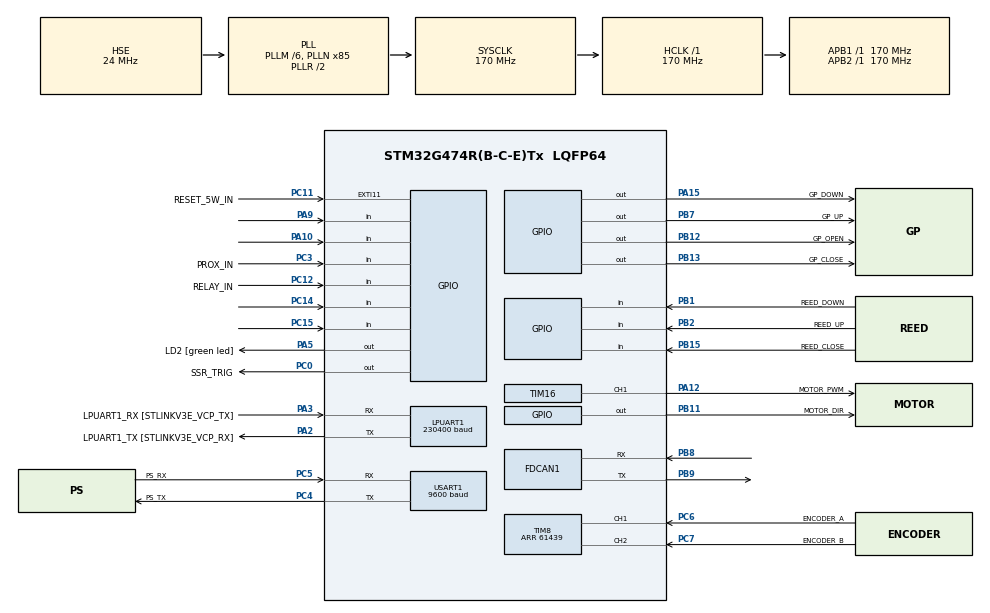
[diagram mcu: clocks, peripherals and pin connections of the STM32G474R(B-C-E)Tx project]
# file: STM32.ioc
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Dma.LPUART1_RX.0.Direction=DMA_PERIPH_TO_MEMORY
Dma.LPUART1_RX.0.EventEnable=DISABLE
Dma.LPUART1_RX.0.Instance=DMA1_Channel1
Dma.LPUART1_RX.0.MemDataAlignment=DMA_MDATAALIGN_BYTE
Dma.LPUART1_RX.0.MemInc=DMA_MINC_ENABLE
Dma.LPUART1_RX.0.Mode=DMA_CIRCULAR
Dma.LPUART1_RX.0.PeriphDataAlignment=DMA_PDATAALIGN_BYTE
Dma.LPUART1_RX.0.PeriphInc=DMA_PINC_DISABLE
Dma.LPUART1_RX.0.Polarity=HAL_DMAMUX_REQ_GEN_RISING
Dma.LPUART1_RX.0.Priority=DMA_PRIORITY_LOW
Dma.LPUART1_RX.0.RequestNumber=1
Dma.LPUART1_RX.0.SignalID=NONE
Dma.LPUART1_RX.0.SyncEnable=DISABLE
Dma.LPUART1_RX.0.SyncPolarity=HAL_DMAMUX_SYNC_NO_EVENT
Dma.LPUART1_RX.0.SyncRequestNumber=1
Dma.LPUART1_RX.0.SyncSignalID=NONE
Dma.LPUART1_TX.1.Direction=DMA_MEMORY_TO_PERIPH
Dma.LPUART1_TX.1.EventEnable=DISABLE
Dma.LPUART1_TX.1.Instance=DMA1_Channel2
Dma.LPUART1_TX.1.MemDataAlignment=DMA_MDATAALIGN_BYTE
Dma.LPUART1_TX.1.MemInc=DMA_MINC_ENABLE
Dma.LPUART1_TX.1.Mode=DMA_NORMAL
Dma.LPUART1_TX.1.PeriphDataAlignment=DMA_PDATAALIGN_BYTE
Dma.LPUART1_TX.1.PeriphInc=DMA_PINC_DISABLE
Dma.LPUART1_TX.1.Polarity=HAL_DMAMUX_REQ_GEN_RISING
Dma.LPUART1_TX.1.Priority=DMA_PRIORITY_LOW
Dma.LPUART1_TX.1.RequestNumber=1
Dma.LPUART1_TX.1.SignalID=NONE
Dma.LPUART1_TX.1.SyncEnable=DISABLE
Dma.LPUART1_TX.1.SyncPolarity=HAL_DMAMUX_SYNC_NO_EVENT
Dma.LPUART1_TX.1.SyncRequestNumber=1
Dma.LPUART1_TX.1.SyncSignalID=NONE
Dma.Request0=LPUART1_RX
Dma.Request1=LPUART1_TX
Dma.Request2=USART1_RX
Dma.Request3=USART1_TX
Dma.USART1_RX.2.Direction=DMA_PERIPH_TO_MEMORY
Dma.USART1_RX.2.EventEnable=DISABLE
Dma.USART1_RX.2.Instance=DMA1_Channel3
Dma.USART1_RX.2.MemDataAlignment=DMA_MDATAALIGN_BYTE
Dma.USART1_RX.2.MemInc=DMA_MINC_ENABLE
Dma.USART1_RX.2.Mode=DMA_CIRCULAR
Dma.USART1_RX.2.PeriphDataAlignment=DMA_PDATAALIGN_BYTE
Dma.USART1_RX.2.PeriphInc=DMA_PINC_DISABLE
Dma.USART1_RX.2.Polarity=HAL_DMAMUX_REQ_GEN_RISING
Dma.USART1_RX.2.Priority=DMA_PRIORITY_LOW
Dma.USART1_RX.2.RequestNumber=1
Dma.USART1_RX.2.SignalID=NONE
Dma.USART1_RX.2.SyncEnable=DISABLE
Dma.USART1_RX.2.SyncPolarity=HAL_DMAMUX_SYNC_NO_EVENT
Dma.USART1_RX.2.SyncRequestNumber=1
Dma.USART1_RX.2.SyncSignalID=NONE
Dma.USART1_TX.3.Direction=DMA_MEMORY_TO_PERIPH
Dma.USART1_TX.3.EventEnable=DISABLE
Dma.USART1_TX.3.Instance=DMA1_Channel4
Dma.USART1_TX.3.MemDataAlignment=DMA_MDATAALIGN_BYTE
Dma.USART1_TX.3.MemInc=DMA_MINC_ENABLE
Dma.USART1_TX.3.Mode=DMA_NORMAL
Dma.USART1_TX.3.PeriphDataAlignment=DMA_PDATAALIGN_BYTE
Dma.USART1_TX.3.PeriphInc=DMA_PINC_DISABLE
Dma.USART1_TX.3.Polarity=HAL_DMAMUX_REQ_GEN_RISING
Dma.USART1_TX.3.Priority=DMA_PRIORITY_LOW
Dma.USART1_TX.3.RequestNumber=1
Dma.USART1_TX.3.SignalID=NONE
Dma.USART1_TX.3.SyncEnable=DISABLE
Dma.USART1_TX.3.SyncPolarity=HAL_DMAMUX_SYNC_NO_EVENT
Dma.USART1_TX.3.SyncRequestNumber=1
Dma.USART1_TX.3.SyncSignalID=NONE
FDCAN1.CalculateBaudRateNominal=1250000
FDCAN1.CalculateTimeBitNominal=800
FDCAN1.CalculateTimeQuantumNominal=200.0
FDCAN1.NominalPrescaler=34
FDCAN1.NominalTimeSeg2=2
LPUART1.BaudRate=230400
LPUART1.Parity=UART_PARITY_EVEN
LPUART1.WordLength=UART_WORDLENGTH_9B
Mcu.Family=STM32G4
Mcu.Name=STM32G474R(B-C-E)Tx
Mcu.Package=LQFP64
NVIC.DMA1_Channel1_IRQn=true\:0\:0\:false\:false\:true\:false\:true\:true
NVIC.DMA1_Channel2_IRQn=true\:0\:0\:false\:false\:true\:false\:true\:true
NVIC.DMA1_Channel3_IRQn=true\:0\:0\:false\:false\:true\:false\:true\:true
NVIC.DMA1_Channel4_IRQn=true\:0\:0\:false\:false\:true\:false\:true\:true
NVIC.EXTI15_10_IRQn=true\:0\:0\:false\:false\:true\:true\:true\:true
NVIC.FDCAN1_IT0_IRQn=true\:0\:0\:false\:false\:true\:true\:true\:true
NVIC.FDCAN1_IT1_IRQn=true\:0\:0\:false\:false\:true\:true\:true\:true
NVIC.LPUART1_IRQn=true\:0\:0\:false\:false\:true\:true\:true\:true
NVIC.PriorityGroup=NVIC_PRIORITYGROUP_4
NVIC.TIM6_DAC_IRQn=true\:0\:0\:false\:false\:true\:true\:true\:true
NVIC.TIM7_DAC_IRQn=true\:0\:0\:false\:false\:true\:true\:true\:true
NVIC.USART1_IRQn=true\:0\:0\:false\:false\:true\:true\:true\:true
PA10.GPIO_PuPd=GPIO_PULLDOWN
PA10.Signal=GPIO_Input
PA12.GPIO_Label=MOTOR_PWM
PA12.Signal=S_TIM16_CH1
PA13.Signal=SYS_JTMS-SWDIO
PA14.Signal=SYS_JTCK-SWCLK
PA15.GPIO_Label=GP_DOWN
PA15.GPIO_PuPd=GPIO_PULLDOWN
PA15.Signal=GPIO_Output
PA2.GPIO_Label=LPUART1_TX [STLINKV3E_VCP_RX]
PA2.Mode=Asynchronous
PA2.Signal=LPUART1_TX
PA3.GPIO_Label=LPUART1_RX [STLINKV3E_VCP_TX]
PA3.Mode=Asynchronous
PA3.Signal=LPUART1_RX
PA5.GPIO_Label=LD2 [green led]
PA5.Signal=GPIO_Output
PA9.GPIO_PuPd=GPIO_PULLDOWN
PA9.Signal=GPIO_Input
PB1.GPIO_Label=REED_DOWN
PB1.GPIO_Mode=GPIO_MODE_INPUT
PB1.GPIO_PuPd=GPIO_PULLDOWN
PB1.Signal=GPIO_Input
PB11.GPIO_Label=MOTOR_DIR
PB11.Signal=GPIO_Output
PB12.GPIO_Label=GP_OPEN
PB12.GPIO_PuPd=GPIO_PULLDOWN
PB12.Signal=GPIO_Output
PB13.GPIO_Label=GP_CLOSE
PB13.GPIO_PuPd=GPIO_PULLDOWN
PB13.Signal=GPIO_Output
PB15.GPIO_Label=REED_CLOSE
PB15.GPIO_Mode=GPIO_MODE_INPUT
PB15.GPIO_PuPd=GPIO_PULLDOWN
PB15.Signal=GPIO_Input
PB2.GPIO_Label=REED_UP
PB2.GPIO_PuPd=GPIO_PULLDOWN
PB2.Signal=GPIO_Input
PB3.GPIO_Label=T_SWO
PB3.Signal=SYS_JTDO-SWO
PB6.GPIO_Label=ENCODER_Z
PB6.Signal=S_TIM8_ETR
PB7.GPIO_Label=GP_UP
PB7.GPIO_PuPd=GPIO_PULLDOWN
PB7.Signal=GPIO_Output
PB8-BOOT0.Mode=FDCAN_Activate
PB8-BOOT0.Signal=FDCAN1_RX
PB9.Mode=FDCAN_Activate
PB9.Signal=FDCAN1_TX
PC0.GPIO_Label=SSR_TRIG
PC0.GPIO_PuPd=GPIO_PULLDOWN
PC0.Signal=GPIO_Output
PC11.GPIO_Label=RESET_5W_IN
PC11.GPIO_ModeDefaultEXTI=GPIO_MODE_IT_FALLING
PC11.GPIO_PuPd=GPIO_PULLDOWN
PC11.Signal=GPXTI11
PC12.GPIO_Label=RELAY_IN
PC12.GPIO_PuPd=GPIO_PULLDOWN
PC12.Signal=GPIO_Input
PC14-OSC32_IN.GPIO_PuPd=GPIO_PULLDOWN
PC14-OSC32_IN.Signal=GPIO_Input
PC15-OSC32_OUT.GPIO_PuPd=GPIO_PULLDOWN
PC15-OSC32_OUT.Signal=GPIO_Input
PC3.GPIO_Label=PROX_IN
PC3.GPIO_PuPd=GPIO_PULLDOWN
PC3.Signal=GPIO_Input
PC4.GPIO_Label=PS_TX
PC4.Mode=Asynchronous
PC4.Signal=USART1_TX
PC5.GPIO_Label=PS_RX
PC5.Mode=Asynchronous
PC5.Signal=USART1_RX
PC6.GPIO_Label=ENCODER_A
PC6.Signal=S_TIM8_CH1
PC7.GPIO_Label=ENCODER_B
PC7.Signal=S_TIM8_CH2
PF0-OSC_IN.GPIO_Label=RCC_OSC_IN
PF0-OSC_IN.Mode=HSE-External-Oscillator
PF0-OSC_IN.Signal=RCC_OSC_IN
PF1-OSC_OUT.GPIO_Label=RCC_OSC_OUT
PF1-OSC_OUT.Mode=HSE-External-Oscillator
PF1-OSC_OUT.Signal=RCC_OSC_OUT
ProjectManager.HeapSize=0x200
ProjectManager.StackSize=0x400
ProjectManager.TargetToolchain=STM32CubeIDE
RCC.ADC12Freq_Value=170000000
RCC.ADC345Freq_Value=170000000
RCC.AHBFreq_Value=170000000
RCC.APB1Freq_Value=170000000
RCC.APB1TimFreq_Value=170000000
RCC.APB2Freq_Value=170000000
RCC.APB2TimFreq_Value=170000000
RCC.CortexFreq_Value=170000000
RCC.EXTERNAL_CLOCK_VALUE=12288000
RCC.HCLKFreq_Value=170000000
RCC.HSE_VALUE=24000000
RCC.HSI48_VALUE=48000000
RCC.HSI_VALUE=16000000
RCC.LSE_VALUE=32768
RCC.PLLM=RCC_PLLM_DIV6
RCC.PLLN=85
RCC.PLLSourceVirtual=RCC_PLLSOURCE_HSE
RCC.RTCClockSelection=RCC_RTCCLKSOURCE_LSE
RCC.SYSCLKFreq_VALUE=170000000
RCC.SYSCLKSource=RCC_SYSCLKSOURCE_PLLCLK
RCC.USBFreq_Value=170000000
RCC.VCOOutputFreq_Value=340000000
SH.S_TIM16_CH1.0=TIM16_CH1,PWM Generation1 CH1
SH.S_TIM8_CH1.0=TIM8_CH1,Encoder_Interface
SH.S_TIM8_CH2.0=TIM8_CH2,Encoder_Interface
SH.S_TIM8_ETR.0=TIM8_ETR
TIM16.Channel=TIM_CHANNEL_1
TIM16.PeriodNoDither=99
TIM16.Prescaler=169
TIM6.PeriodNoDither=199
TIM6.Prescaler=169
TIM7.PeriodNoDither=999
TIM7.Prescaler=169
TIM8.EncoderMode=TIM_ENCODERMODE_TI12
TIM8.PeriodNoDither=61439
USART1.BaudRate=9600
USART1.Parity=PARITY_NONE
USART1.VirtualMode-Asynchronous=VM_ASYNC
VP_SYS_VS_DBSignals.Mode=DisableDeadBatterySignals
VP_TIM16_VS_ClockSourceINT.Mode=Enable_Timer
VP_TIM6_VS_ClockSourceINT.Mode=Enable_Timer
VP_TIM7_VS_ClockSourceINT.Mode=Enable_Timer
board=NUCLEO-G474RE

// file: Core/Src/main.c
/* USER CODE BEGIN Header */
/* USER CODE END Header */
#include "main.h"

#include "dma.h"
#include "fdcan.h"
#include "gpio.h"
#include "tim.h"
#include "usart.h"

/* USER CODE BEGIN Includes */
#include "app/app.h"
#include "app/safety.h"
#include "comm/aican_master.h"
#include "comm/charmander.h"
#include "config/robot_config.h"
#include "control/control.h"
#include "control/joy_cmd_bridge.h"
#include "control/trajectory_manager.h"
#include "drivers/gripper.h"
#include "drivers/io.h"
#include "drivers/motor.h"
#include "drivers/qei.h"
/* USER CODE END Includes */

/* USER CODE BEGIN PV */
// static float test_voltage = 0.0f;
/* USER CODE END PV */

void SystemClock_Config(void);

int main(void) {

    /* MCU Configuration--------------------------------------------------------*/

    /* Reset of all peripherals, Initializes the Flash interface and the Systick. */
    HAL_Init();

    /* Configure the system clock */
    SystemClock_Config();

    /* Initialize all configured peripherals */
    MX_GPIO_Init();
    MX_DMA_Init();
    MX_TIM16_Init();
    MX_TIM6_Init();
    MX_TIM8_Init();
    MX_USART1_UART_Init();
    MX_LPUART1_UART_Init();
    MX_TIM7_Init();
    MX_FDCAN1_Init();
    /* USER CODE BEGIN 2 */
    HAL_TIM_Base_Start_IT(&htim6);
    HAL_TIM_Base_Start_IT(&htim7);
    //	GripperCAN_Init(&hfdcan1);

    App_Init();
    //	AICAN_Init(&hfdcan1);
    /* USER CODE END 2 */

    /* Infinite loop */
    while (1) {

        /* USER CODE BEGIN 3 */
        App_Update();

        // if (Safety_IsEmergency()) {
        //     Motor_Brake();
        //     continue;
        // }
        // Motor_SetVoltage(test_voltage);
    }
    /* USER CODE END 3 */
}

void SystemClock_Config(void) {
    RCC_OscInitTypeDef RCC_OscInitStruct = {0};
    RCC_ClkInitTypeDef RCC_ClkInitStruct = {0};

    /** Configure the main internal regulator output voltage
     */
    HAL_PWREx_ControlVoltageScaling(PWR_REGULATOR_VOLTAGE_SCALE1_BOOST);

    /** Initializes the RCC Oscillators according to the specified parameters
     * in the RCC_OscInitTypeDef structure.
     */
    RCC_OscInitStruct.OscillatorType = RCC_OSCILLATORTYPE_HSE;
    RCC_OscInitStruct.HSEState       = RCC_HSE_ON;
    RCC_OscInitStruct.PLL.PLLState   = RCC_PLL_ON;
    RCC_OscInitStruct.PLL.PLLSource  = RCC_PLLSOURCE_HSE;
    RCC_OscInitStruct.PLL.PLLM       = RCC_PLLM_DIV6;
    RCC_OscInitStruct.PLL.PLLN       = 85;
    RCC_OscInitStruct.PLL.PLLP       = RCC_PLLP_DIV2;
    RCC_OscInitStruct.PLL.PLLQ       = RCC_PLLQ_DIV2;
    RCC_OscInitStruct.PLL.PLLR       = RCC_PLLR_DIV2;
    if (HAL_RCC_OscConfig(&RCC_OscInitStruct) != HAL_OK) {
        Error_Handler();
    }

    /** Initializes the CPU, AHB and APB buses clocks
     */
    RCC_ClkInitStruct.ClockType      = RCC_CLOCKTYPE_HCLK | RCC_CLOCKTYPE_SYSCLK |
                                       RCC_CLOCKTYPE_PCLK1 | RCC_CLOCKTYPE_PCLK2;
    RCC_ClkInitStruct.SYSCLKSource   = RCC_SYSCLKSOURCE_PLLCLK;
    RCC_ClkInitStruct.AHBCLKDivider  = RCC_SYSCLK_DIV1;
    RCC_ClkInitStruct.APB1CLKDivider = RCC_HCLK_DIV1;
    RCC_ClkInitStruct.APB2CLKDivider = RCC_HCLK_DIV1;

    if (HAL_RCC_ClockConfig(&RCC_ClkInitStruct, FLASH_LATENCY_4) != HAL_OK) {
        Error_Handler();
    }
}

/* USER CODE BEGIN 4 */
/*
 * ============================================================
 * TIMER CALLBACK
 * ============================================================
 */

static inline bool IsNormalOperation(void) {
    return !Safety_IsEmergency() && charmander.mode != CHARMANDER_MODE_HOME &&
           charmander.mode != CHARMANDER_MODE_SET_HOME && JoyInUse() == false;
}

void HAL_TIM_PeriodElapsedCallback(TIM_HandleTypeDef *htim) {
    /*
     * Fast loop
     * 5 kHz
     */
    if (htim->Instance == TIM6) {
        QEI_UpdateISR();

        if (IsNormalOperation()) {
            Control_UpdateFastISR();
        }
    }

    /*
     * Slow loop
     * 1 kHz
     */
    if (htim->Instance == TIM7) {
        Trajectory_Update(CONTROL_SLOW_DT);

        if (IsNormalOperation()) {
            Control_UpdateSlowISR();
        }
    }
}

// void HAL_FDCAN_RxFifo0Callback(FDCAN_HandleTypeDef *hfdcan, uint32_t RxFifo0ITs) {
//     AICAN_Master_RxCallback(hfdcan); /* ← only this line needed */
// }

/*
 * ============================================================
 * GPIO EXTI CALLBACK
 * ============================================================
 */

void HAL_GPIO_EXTI_Callback(uint16_t GPIO_Pin) { Safety_EXTI_Callback(GPIO_Pin); }

/* USER CODE END 4 */

void Error_Handler(void) {
}
